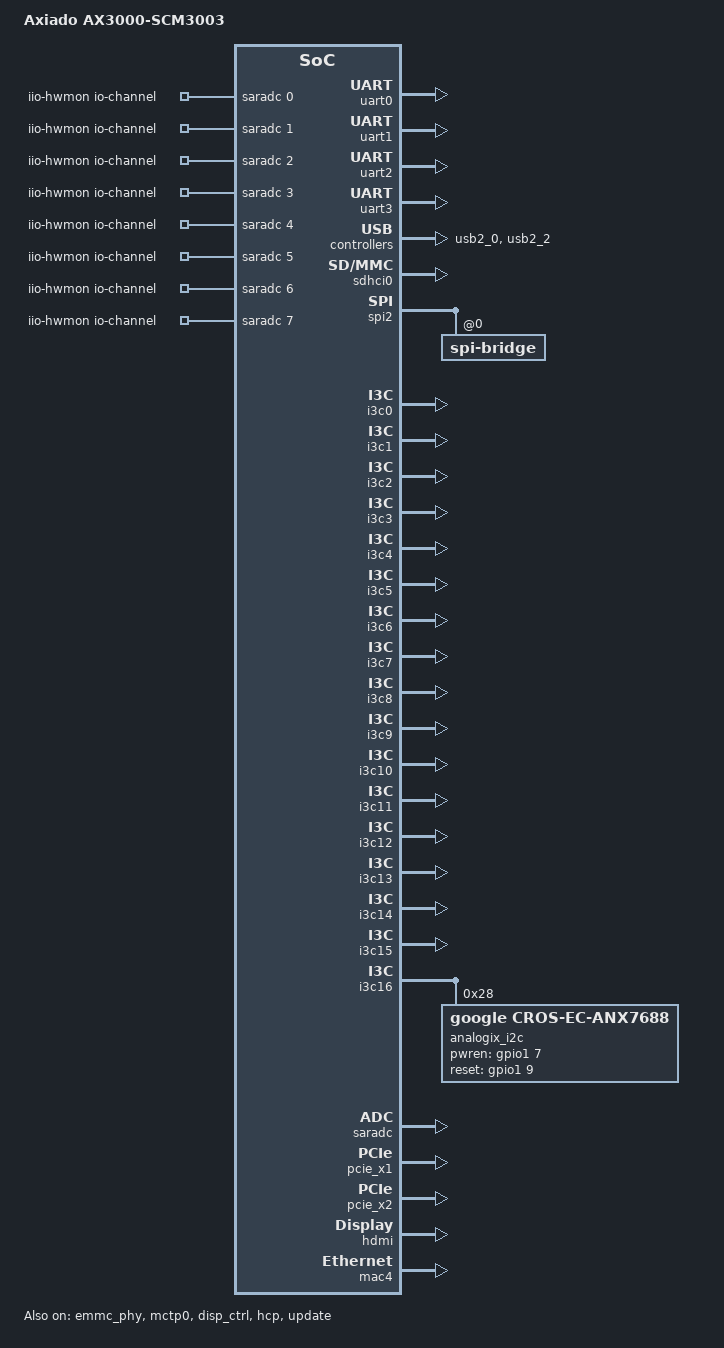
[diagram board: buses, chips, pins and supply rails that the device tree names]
// SPDX-License-Identifier: GPL-2.0+
 /*
  * DTSI file for Axiado AX3000-SCM3003
  * Copyright (c) 2025 Axiado Corporation.
  */

#include "ax3000-scm.dtsi"

/ {
	model = "Axiado AX3000-SCM3003";
	iio-hwmon {
		compatible = "iio-hwmon";
		io-channels = <&saradc 0>, <&saradc 1>, <&saradc 2>,
			      <&saradc 3>, <&saradc 4>, <&saradc 5>,
			      <&saradc 6>, <&saradc 7>, <&saradc 8>,
			      <&saradc 9>, <&saradc 10>, <&saradc 11>,
			      <&saradc 12>, <&saradc 13>, <&saradc 14>,
			      <&saradc 15>;
	};

	update: fw-update@4A00000 {
		compatible = "axiado,ax-fwupgrade";
		/* Reserved memory space for the firmware upgrade */
		reg = <0x00000000 0x04A00000 0x00000000 0x8000000>;
		status = "okay";
	};
};

/* GPIO bank 0 - 7 */
&gpio0 {
	status = "okay";
};

&gpio1 {
	status = "okay";
};

&gpio2 {
	status = "okay";
};

&gpio3 {
	status = "okay";
};

&gpio4 {
	status = "okay";
};

&gpio5 {
	status = "okay";
};

&gpio6 {
	status = "okay";
};

&gpio7 {
	status = "okay";
};

&uart0 {
	status = "okay";
};

&uart1 {
	status = "okay";
};

&uart2 {
	status = "okay";
};

&uart3 {
	status = "okay";
};

&usb2_0 {
	status = "okay";
};

&emmc_phy {
	status = "okay";
};

&sdhci0 {
	status = "okay";
};

&usb2_2 {
	status = "okay";
};

&spi2 {
	status = "okay";
	spi-bridge@0 {
		status = "okay";
		i2c-ssif@0 {
			status = "okay";
			ssif-bmc@10 {
				status = "okay";
			};
		};
	};
};

&i3c0 {
	status = "okay";
};

&i3c1 {
	status = "okay";
};

&i3c2 {
	status = "okay";
};

&i3c3 {
	status = "okay";
};

&i3c4 {
	status = "okay";
};

&i3c5 {
	status = "okay";
};

&i3c6 {
	status = "okay";
};

&i3c7 {
	status = "okay";
};

&i3c8 {
	status = "okay";
};

&i3c9 {
	status = "okay";
};

&i3c10 {
	status = "okay";
};

&i3c11 {
	status = "okay";
};

&i3c12 {
	status = "okay";
};

&i3c13 {
	status = "okay";
};

&i3c14 {
	status = "okay";
};

&i3c15 {
	status = "okay";
};

&i3c16 {
	status = "okay";
	analogix_i2c@28{
		compatible ="google,cros-ec-anx7688";
		reg = <0x28 0x0 0x50>;
		pwren-gpios = <&gpio1 7 0x0>;
		reset-gpios = <&gpio1 9 0x0>;
	};

	analogix_i2c1@2c {
		compatible = "dummy";
		reg = <0x2c 0x0 0x50>;
	};
};

&saradc {
	status = "okay";
};

&pcie_x1 {
	status = "okay";
};

&pcie_x2 {
	status = "okay";
};

&mctp0 {
	status = "okay";
};

&hdmi {
	status = "okay";
};

&disp_ctrl {
	status = "okay";
};

&hcp {
	status = "okay";
};

&mac4 {
	status = "okay";
};
